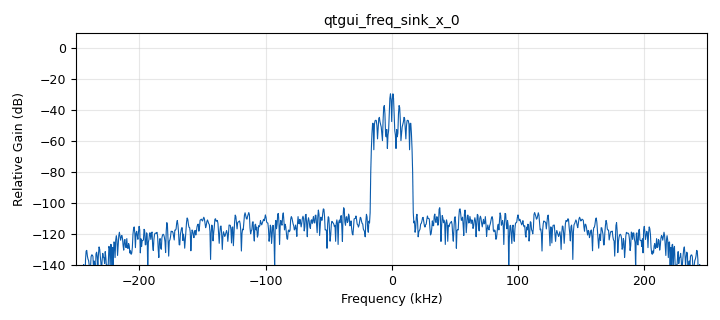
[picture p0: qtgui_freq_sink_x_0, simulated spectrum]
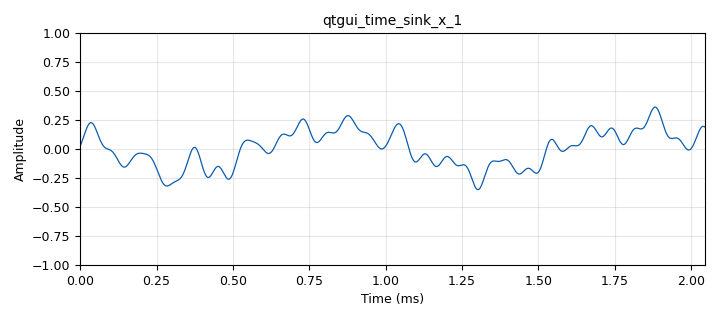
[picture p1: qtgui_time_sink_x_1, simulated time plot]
options:
  parameters:
    author: pieterverbeek
    generate_options: qt_gui
    id: ECSE351ProblemSet_FM
    output_language: python
    title: Not titled yet
  states: {}

blocks:
- name: FM_amp
  id: variable
  parameters:
    value: '1'
  states: {}
- name: f_mod_1
  id: variable_qtgui_range
  parameters:
    start: '1'
    step: '100'
    stop: '100000'
    value: '1000'
    widget: eng_slider
  states: {}
- name: f_mod_2
  id: variable_qtgui_range
  parameters:
    start: '1'
    step: '100'
    stop: '100000'
    value: '1000'
    widget: eng_slider
  states: {}
- name: samp_rate
  id: variable
  parameters:
    value: '500000'
  states: {}
- name: scale
  id: variable_qtgui_range
  parameters:
    start: '1'
    step: '100'
    stop: '100000'
    value: '1'
    widget: eng_slider
  states: {}
- name: sensitivity_1
  id: variable_qtgui_range
  parameters:
    start: '5000'
    step: '.1'
    stop: '15000'
    value: '10000'
  states: {}
- name: sensitivity_2
  id: variable_qtgui_range
  parameters:
    start: '0'
    step: '.2'
    stop: '10'
    value: '.5'
  states: {}
- name: analog_const_source_x_0
  id: analog_const_source_x
  parameters:
    const: scale
    type: complex
  states: {}
- name: analog_fm_demod_cf_0
  id: analog_fm_demod_cf
  parameters:
    audio_decim: '1'
    audio_pass: '15000'
    audio_stop: '16000'
    chan_rate: samp_rate
    deviation: '75000'
    gain: '10'
    tau: '75e-6'
  states: {}
- name: analog_sig_source_x_0
  id: analog_sig_source_x
  parameters:
    amp: '1'
    freq: f_mod_1
    offset: '0'
    phase: '0'
    samp_rate: samp_rate
    type: float
    waveform: analog.GR_COS_WAVE
  states: {}
- name: analog_sig_source_x_0_0
  id: analog_sig_source_x
  parameters:
    amp: '1'
    freq: f_mod_2
    offset: '0'
    phase: '0'
    samp_rate: samp_rate
    type: float
    waveform: analog.GR_COS_WAVE
  states: {}
- name: blocks_add_xx_0
  id: blocks_add_xx
  parameters:
    type: complex
  states: {}
- name: blocks_divide_xx_0
  id: blocks_divide_xx
  parameters:
    type: complex
  states: {}
- name: blocks_vco_c_0
  id: blocks_vco_c
  parameters:
    amplitude: '1'
    samp_rate: samp_rate
    sensitivity: sensitivity_1
  states: {}
- name: blocks_vco_c_0_0
  id: blocks_vco_c
  parameters:
    amplitude: '1'
    samp_rate: sensitivity_2
    sensitivity: '15000'
  states: {}
- name: qtgui_freq_sink_x_0
  id: qtgui_freq_sink_x
  parameters:
    bw: samp_rate
    fc: '0'
    fftsize: '1024'
    type: float
  states: {}
- name: qtgui_time_sink_x_1
  id: qtgui_time_sink_x
  parameters:
    size: '1024'
    srate: samp_rate
    type: float
  states: {}

connections:
- [analog_const_source_x_0, '0', blocks_divide_xx_0, '1']
- [analog_fm_demod_cf_0, '0', qtgui_freq_sink_x_0, '0']
- [analog_fm_demod_cf_0, '0', qtgui_time_sink_x_1, '0']
- [analog_sig_source_x_0, '0', blocks_vco_c_0, '0']
- [analog_sig_source_x_0_0, '0', blocks_vco_c_0_0, '0']
- [blocks_add_xx_0, '0', analog_fm_demod_cf_0, '0']
- [blocks_divide_xx_0, '0', blocks_add_xx_0, '1']
- [blocks_vco_c_0, '0', blocks_add_xx_0, '0']
- [blocks_vco_c_0_0, '0', blocks_divide_xx_0, '0']

metadata:
  file_format: 1
  grc_version: 3.10.12.0
